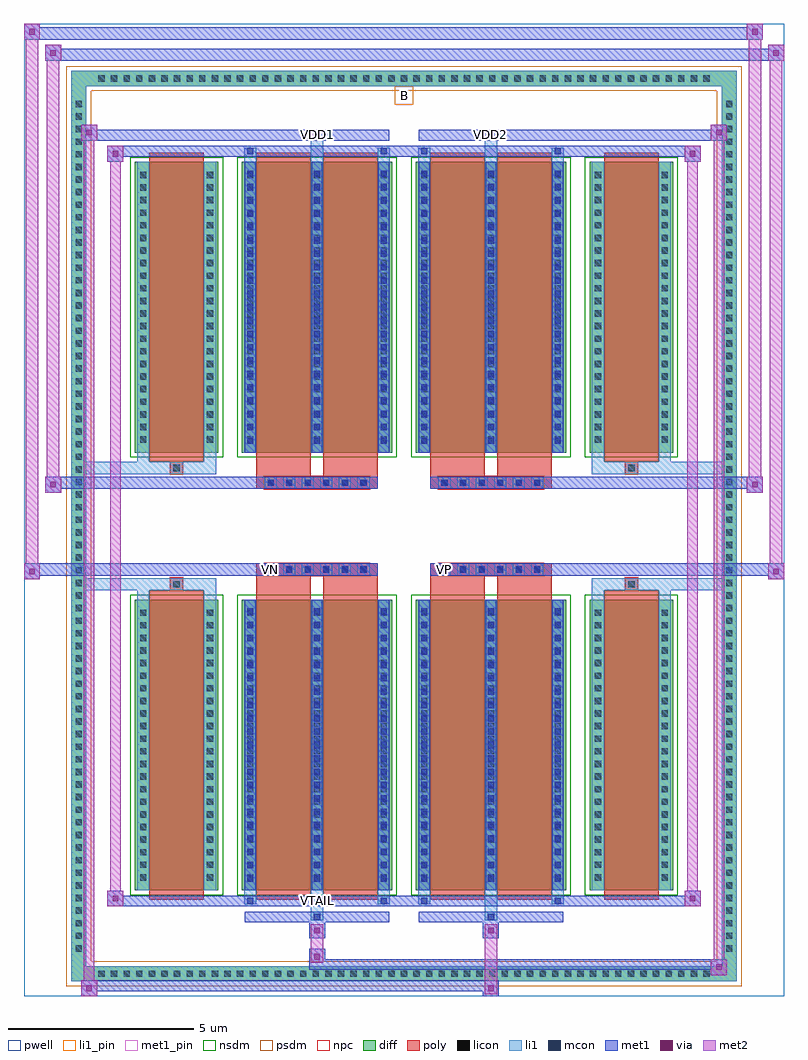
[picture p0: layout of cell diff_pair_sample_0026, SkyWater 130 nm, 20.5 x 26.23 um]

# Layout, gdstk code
import gdstk
lib = gdstk.Library(unit=1e-6, precision=5e-09)
def R(c, l, rs):  # rectangles x0, y0, x1, y1
    for r in rs: c.add(gdstk.rectangle(r[:2], r[2:], *l))
def A(c, l, x, y, w, h, nx, ny, dx, dy):  # array of equal rectangles
    R(c, l, [(x+i*dx, y+j*dy, x+i*dx+w, y+j*dy+h) for i in range(nx) for j in range(ny)])
def P(c, l, *ps):  # polygons
    for p in ps: c.add(gdstk.Polygon(p, *l))
pwell = (64, 44)
diff = (65, 20)
poly = (66, 20)
licon = (66, 44)
li1_pin = (67, 16)
li1 = (67, 20)
mcon = (67, 44)
met1_pin = (68, 16)
met1 = (68, 20)
via = (68, 44)
met2 = (69, 20)
nsdm = (93, 44)
psdm = (94, 20)
npc = (95, 20)

diff_pair_sample_0026 = lib.new_cell('diff_pair_sample_0026')
R(diff_pair_sample_0026, pwell, [(-10.25,-12.68,10.25,13.55), (-7.57,-10.87,-0.01,-0.805), (0.01,-10.87,7.57,-0.805), (-7.57,0.805,-0.01,10.87), (0.01,0.805,7.57,10.87)])
A(diff_pair_sample_0026, diff, -8.365, -12.28, 0.41, 0.41, 49, 2, 0.34, 24.15)
A(diff_pair_sample_0026, diff, -8.98, -11.595, 0.41, 0.41, 1, 68, 0, 0.34)
A(diff_pair_sample_0026, diff, 8.57, -11.595, 0.41, 0.41, 1, 68, 0, 0.34)
R(diff_pair_sample_0026, diff, [(-8.365,-12.28,8.365,-11.87), (-8.98,-11.595,-8.57,11.595), (8.57,-11.595,8.98,11.595), (-7.26,-9.825,-5.01,-1.985), (-4.37,-9.825,-0.32,-1.985), (0.32,-9.825,4.37,-1.985), (5.01,-9.825,7.26,-1.985), (-7.26,1.985,-5.01,9.825), (-4.37,1.985,-0.32,9.825), (0.32,1.985,4.37,9.825), (5.01,1.985,7.26,9.825), (-8.365,11.87,8.365,12.28)])
P(diff_pair_sample_0026, diff, [(8.98,12.28),(-8.98,12.28),(-8.98,-11.87),(-8.57,-11.87),(-8.57,11.87),(8.57,11.87),(8.57,-11.87),(-8.57,-11.87),(-8.98,-11.87),(-8.98,-12.28),(8.98,-12.28)])
A(diff_pair_sample_0026, poly, -3.76, -1.335, 0.33, 0.33, 6, 2, 0.5, 2.34)
A(diff_pair_sample_0026, poly, 0.93, -1.335, 0.33, 0.33, 6, 2, 0.5, 2.34)
R(diff_pair_sample_0026, poly, [(-6.87,-10.075,-5.4,-1.735), (-3.98,-10.075,-2.51,-1.735), (-2.18,-10.075,-0.71,-1.735), (0.71,-10.075,2.18,-1.735), (2.51,-10.075,3.98,-1.735), (5.4,-10.075,6.87,-1.735), (-6.3,-1.735,-5.97,-1.405), (-6.3,-1.735,-5.97,-1.405), (-3.98,-1.735,-2.51,-1.335), (-2.18,-1.735,-0.71,-1.335), (0.71,-1.735,2.18,-1.335), (2.51,-1.735,3.98,-1.335), (5.97,-1.735,6.3,-1.405), (5.97,-1.735,6.3,-1.405), (-3.98,-1.335,-0.71,-1.005), (0.71,-1.335,3.98,-1.005), (-3.98,1.005,-0.71,1.335), (0.71,1.005,3.98,1.335), (-3.98,1.335,-2.51,1.735), (-2.18,1.335,-0.71,1.735), (0.71,1.335,2.18,1.735), (2.51,1.335,3.98,1.735), (-6.3,1.405,-5.97,1.735), (-6.3,1.405,-5.97,1.735), (5.97,1.405,6.3,1.735), (5.97,1.405,6.3,1.735), (-6.87,1.735,-5.4,10.075), (-3.98,1.735,-2.51,10.075), (-2.18,1.735,-0.71,10.075), (0.71,1.735,2.18,10.075), (2.51,1.735,3.98,10.075), (5.4,1.735,6.87,10.075)])
A(diff_pair_sample_0026, licon, -8.245, -12.16, 0.17, 0.17, 49, 2, 0.34, 24.15)
A(diff_pair_sample_0026, licon, -8.86, -11.475, 0.17, 0.17, 1, 68, 0, 0.34)
A(diff_pair_sample_0026, licon, 8.69, -11.475, 0.17, 0.17, 1, 68, 0, 0.34)
A(diff_pair_sample_0026, licon, -7.12, -9.56, 0.17, 0.17, 1, 22, 0, 0.34)
A(diff_pair_sample_0026, licon, -5.32, -9.56, 0.17, 0.17, 1, 22, 0, 0.34)
A(diff_pair_sample_0026, licon, -4.23, -9.56, 0.17, 0.17, 3, 22, 1.8, 0.34)
A(diff_pair_sample_0026, licon, 0.46, -9.56, 0.17, 0.17, 3, 22, 1.8, 0.34)
A(diff_pair_sample_0026, licon, 5.15, -9.56, 0.17, 0.17, 1, 22, 0, 0.34)
A(diff_pair_sample_0026, licon, 6.95, -9.56, 0.17, 0.17, 1, 22, 0, 0.34)
A(diff_pair_sample_0026, licon, -3.68, -1.255, 0.17, 0.17, 6, 2, 0.5, 2.34)
A(diff_pair_sample_0026, licon, 1.01, -1.255, 0.17, 0.17, 6, 2, 0.5, 2.34)
A(diff_pair_sample_0026, licon, -7.12, 2.25, 0.17, 0.17, 1, 22, 0, 0.34)
A(diff_pair_sample_0026, licon, -5.32, 2.25, 0.17, 0.17, 1, 22, 0, 0.34)
A(diff_pair_sample_0026, licon, -4.23, 2.25, 0.17, 0.17, 3, 22, 1.8, 0.34)
A(diff_pair_sample_0026, licon, 0.46, 2.25, 0.17, 0.17, 3, 22, 1.8, 0.34)
A(diff_pair_sample_0026, licon, 5.15, 2.25, 0.17, 0.17, 1, 22, 0, 0.34)
A(diff_pair_sample_0026, licon, 6.95, 2.25, 0.17, 0.17, 1, 22, 0, 0.34)
R(diff_pair_sample_0026, licon, [(-6.22,-1.655,-6.05,-1.485), (6.05,-1.655,6.22,-1.485), (-6.22,1.485,-6.05,1.655), (6.05,1.485,6.22,1.655)])
R(diff_pair_sample_0026, li1_pin, [(-0.25,11.37,0.25,11.87)])
A(diff_pair_sample_0026, li1, -8.325, -12.24, 0.33, 0.33, 49, 2, 0.34, 24.15)
A(diff_pair_sample_0026, li1, -8.94, -11.555, 0.33, 0.33, 1, 68, 0, 0.34)
A(diff_pair_sample_0026, li1, 8.61, -11.555, 0.33, 0.33, 1, 68, 0, 0.34)
A(diff_pair_sample_0026, li1, -4.31, -9.825, 0.33, 7.84, 3, 2, 1.8, 11.81)
A(diff_pair_sample_0026, li1, 0.38, -9.825, 0.33, 7.84, 3, 2, 1.8, 11.81)
A(diff_pair_sample_0026, li1, -7.2, -9.64, 0.33, 0.33, 1, 22, 0, 0.34)
A(diff_pair_sample_0026, li1, -5.4, -9.64, 0.33, 0.33, 1, 22, 0, 0.34)
A(diff_pair_sample_0026, li1, -4.31, -9.64, 0.33, 0.33, 3, 22, 1.8, 0.34)
A(diff_pair_sample_0026, li1, 0.38, -9.64, 0.33, 0.33, 3, 22, 1.8, 0.34)
A(diff_pair_sample_0026, li1, 5.07, -9.64, 0.33, 0.33, 1, 22, 0, 0.34)
A(diff_pair_sample_0026, li1, 6.87, -9.64, 0.33, 0.33, 1, 22, 0, 0.34)
A(diff_pair_sample_0026, li1, -4.23, -9.59, 0.17, 0.17, 3, 21, 1.8, 0.36)
A(diff_pair_sample_0026, li1, -4.23, -9.59, 0.17, 7.37, 3, 2, 1.8, 11.81)
A(diff_pair_sample_0026, li1, 0.46, -9.59, 0.17, 0.17, 3, 21, 1.8, 0.36)
A(diff_pair_sample_0026, li1, 0.46, -9.59, 0.17, 7.37, 3, 2, 1.8, 11.81)
A(diff_pair_sample_0026, li1, -3.76, -1.335, 0.33, 0.33, 6, 2, 0.5, 2.34)
A(diff_pair_sample_0026, li1, 0.93, -1.335, 0.33, 0.33, 6, 2, 0.5, 2.34)
A(diff_pair_sample_0026, li1, -7.2, 2.17, 0.33, 0.33, 1, 22, 0, 0.34)
A(diff_pair_sample_0026, li1, -5.4, 2.17, 0.33, 0.33, 1, 22, 0, 0.34)
A(diff_pair_sample_0026, li1, -4.31, 2.17, 0.33, 0.33, 3, 22, 1.8, 0.34)
A(diff_pair_sample_0026, li1, 0.38, 2.17, 0.33, 0.33, 3, 22, 1.8, 0.34)
A(diff_pair_sample_0026, li1, 5.07, 2.17, 0.33, 0.33, 1, 22, 0, 0.34)
A(diff_pair_sample_0026, li1, 6.87, 2.17, 0.33, 0.33, 1, 22, 0, 0.34)
A(diff_pair_sample_0026, li1, -4.23, 2.22, 0.17, 0.17, 3, 21, 1.8, 0.36)
A(diff_pair_sample_0026, li1, 0.46, 2.22, 0.17, 0.17, 3, 21, 1.8, 0.36)
R(diff_pair_sample_0026, li1, [(-8.98,-12.28,-8.57,-11.87), (-8.98,-12.28,-8.57,-11.87), (-8.57,-12.28,8.57,-11.87), (8.57,-12.28,8.98,-11.87), (8.57,-12.28,8.98,-11.87), (-8.98,-11.87,-8.57,11.87), (8.57,-11.87,8.98,11.87), (-2.51,-10.63,-2.18,-9.825), (-2.43,-10.63,-2.26,-10.46), (2.18,-10.63,2.51,-9.825), (2.26,-10.63,2.43,-10.46), (-4.31,-10.2,-3.98,-9.825), (-4.23,-10.2,-4.06,-10.03), (-0.71,-10.2,-0.38,-9.825), (-0.63,-10.2,-0.46,-10.03), (0.38,-10.2,0.71,-9.825), (0.46,-10.2,0.63,-10.03), (3.98,-10.2,4.31,-9.825), (4.06,-10.2,4.23,-10.03), (-7.2,-9.825,-6.87,-1.985), (-5.4,-9.825,-5.07,-1.985), (5.07,-9.825,5.4,-1.985), (6.87,-9.825,7.2,-1.985), (-7.2,-1.985,-6.87,-1.405), (-5.4,-1.985,-5.07,-1.405), (5.07,-1.985,5.4,-1.405), (6.87,-1.985,7.2,-1.405), (-8.98,-1.735,-6.3,-1.405), (-7.2,-1.735,-6.3,-1.405), (-6.3,-1.735,-5.97,-1.405), (-5.97,-1.735,-5.07,-1.405), (5.07,-1.735,5.97,-1.405), (5.97,-1.735,6.3,-1.405), (5.97,-1.735,8.98,-1.405), (6.3,-1.735,7.2,-1.405), (-8.98,1.405,-6.3,1.735), (-7.2,1.405,-6.3,1.735), (-7.2,1.405,-6.87,1.985), (-6.3,1.405,-5.97,1.735), (-5.97,1.405,-5.07,1.735), (-5.4,1.405,-5.07,1.985), (5.07,1.405,5.97,1.735), (5.07,1.405,5.4,1.985), (5.97,1.405,6.3,1.735), (5.97,1.405,8.98,1.735), (6.3,1.405,7.2,1.735), (6.87,1.405,7.2,1.985), (-7.2,1.985,-6.87,9.825), (-5.4,1.985,-5.07,9.825), (5.07,1.985,5.4,9.825), (6.87,1.985,7.2,9.825), (-4.31,9.825,-3.98,10.2), (-2.51,9.825,-2.18,10.63), (-0.71,9.825,-0.38,10.2), (0.38,9.825,0.71,10.2), (2.18,9.825,2.51,10.63), (3.98,9.825,4.31,10.2), (-4.23,10.03,-4.06,10.2), (-0.63,10.03,-0.46,10.2), (0.46,10.03,0.63,10.2), (4.06,10.03,4.23,10.2), (-2.43,10.46,-2.26,10.63), (2.26,10.46,2.43,10.63), (-8.98,11.87,-8.57,12.28), (-8.98,11.87,-8.57,12.28), (-8.57,11.87,8.57,12.28), (8.57,11.87,8.98,12.28), (8.57,11.87,8.98,12.28)])
A(diff_pair_sample_0026, mcon, -4.23, -9.59, 0.17, 0.17, 3, 21, 1.8, 0.36)
A(diff_pair_sample_0026, mcon, 0.46, -9.59, 0.17, 0.17, 3, 21, 1.8, 0.36)
A(diff_pair_sample_0026, mcon, -3.68, -1.255, 0.17, 0.17, 6, 2, 0.5, 2.34)
A(diff_pair_sample_0026, mcon, 1.01, -1.255, 0.17, 0.17, 6, 2, 0.5, 2.34)
A(diff_pair_sample_0026, mcon, -4.23, 2.22, 0.17, 0.17, 3, 21, 1.8, 0.36)
A(diff_pair_sample_0026, mcon, 0.46, 2.22, 0.17, 0.17, 3, 21, 1.8, 0.36)
R(diff_pair_sample_0026, mcon, [(-2.43,-10.63,-2.26,-10.46), (2.26,-10.63,2.43,-10.46), (-4.23,-10.2,-4.06,-10.03), (-0.63,-10.2,-0.46,-10.03), (0.46,-10.2,0.63,-10.03), (4.06,-10.2,4.23,-10.03), (-4.23,10.03,-4.06,10.2), (-0.63,10.03,-0.46,10.2), (0.46,10.03,0.63,10.2), (4.06,10.03,4.23,10.2), (-2.43,10.46,-2.26,10.63), (2.26,10.46,2.43,10.63)])
R(diff_pair_sample_0026, met1_pin, [(-2.48,-10.24,-2.21,-9.97), (-3.73,-1.295,-3.46,-1.025), (0.96,-1.295,1.23,-1.025), (-2.48,10.42,-2.21,10.69), (2.21,10.42,2.48,10.69)])
A(diff_pair_sample_0026, met1, -4.29, -9.825, 0.29, 7.84, 3, 2, 1.8, 11.81)
A(diff_pair_sample_0026, met1, 0.4, -9.825, 0.29, 7.84, 3, 2, 1.8, 11.81)
A(diff_pair_sample_0026, met1, -4.29, -9.65, 0.29, 0.29, 3, 21, 1.8, 0.36)
A(diff_pair_sample_0026, met1, 0.4, -9.65, 0.29, 0.29, 3, 21, 1.8, 0.36)
A(diff_pair_sample_0026, met1, -3.74, -1.315, 0.29, 0.29, 6, 2, 0.5, 2.34)
A(diff_pair_sample_0026, met1, 0.95, -1.315, 0.29, 0.29, 6, 2, 0.5, 2.34)
A(diff_pair_sample_0026, met1, -4.29, 2.16, 0.29, 0.29, 3, 21, 1.8, 0.36)
A(diff_pair_sample_0026, met1, 0.4, 2.16, 0.29, 0.29, 3, 21, 1.8, 0.36)
R(diff_pair_sample_0026, met1, [(-8.71,-12.68,-8.28,-12.25), (2.13,-12.68,2.56,-12.25), (-8.71,-12.54,2.56,-12.25), (8.28,-12.11,8.71,-11.68), (-2.56,-11.97,8.71,-11.68), (-2.56,-11.83,-2.13,-11.4), (-2.56,-11.12,-2.13,-10.69), (2.13,-11.12,2.56,-10.69), (-4.29,-10.69,-0.4,-10.4), (-2.49,-10.69,-2.2,-10.4), (0.4,-10.69,4.29,-10.4), (2.2,-10.69,2.49,-10.4), (-8,-10.26,-7.57,-9.83), (-8,-10.26,-4.29,-9.97), (-4.29,-10.26,-4,-9.97), (-4.29,-10.26,-0.4,-9.97), (-0.69,-10.26,-0.4,-9.97), (-0.4,-10.26,0.4,-9.97), (0.4,-10.26,0.69,-9.97), (0.4,-10.26,4.29,-9.97), (4,-10.26,4.29,-9.97), (4.29,-10.26,8,-9.97), (7.57,-10.26,8,-9.83), (-10.25,-1.435,-9.82,-1.005), (9.82,-1.435,10.25,-1.005), (-10.25,-1.335,-0.71,-1.005), (-3.98,-1.335,-0.71,-1.005), (0.71,-1.335,3.98,-1.005), (0.71,-1.335,10.25,-1.005), (-9.68,0.905,-9.25,1.335), (9.25,0.905,9.68,1.335), (-9.68,1.005,-3.98,1.335), (-3.98,1.005,-0.71,1.335), (0.71,1.005,3.98,1.335), (3.98,1.005,9.68,1.335), (-8,9.83,-7.57,10.26), (7.57,9.83,8,10.26), (-8,9.97,-4.29,10.26), (-4.29,9.97,-4,10.26), (-4.29,9.97,-0.4,10.26), (-0.69,9.97,-0.4,10.26), (-0.4,9.97,0.4,10.26), (0.4,9.97,0.69,10.26), (0.4,9.97,4.29,10.26), (4,9.97,4.29,10.26), (4.29,9.97,8,10.26), (-8.71,10.4,-8.28,10.83), (-8.71,10.4,-4.29,10.69), (-4.29,10.4,-0.4,10.69), (-2.49,10.4,-2.2,10.69), (0.4,10.4,4.29,10.69), (2.2,10.4,2.49,10.69), (4.29,10.4,8.71,10.69), (8.28,10.4,8.71,10.83), (-9.68,12.55,-9.25,12.98), (-9.68,12.55,-7.57,12.88), (-7.57,12.55,7.57,12.88), (7.57,12.55,10.25,12.88), (9.82,12.55,10.25,12.98), (-10.25,13.12,-9.82,13.55), (-10.25,13.12,-7.57,13.45), (-7.57,13.12,7.57,13.45), (7.57,13.12,9.68,13.45), (9.25,13.12,9.68,13.55)])
R(diff_pair_sample_0026, via, [(-8.57,-12.54,-8.42,-12.39), (2.27,-12.54,2.42,-12.39), (8.42,-11.97,8.57,-11.82), (-2.42,-11.69,-2.27,-11.54), (-2.42,-10.98,-2.27,-10.83), (2.27,-10.98,2.42,-10.83), (-7.86,-10.12,-7.71,-9.97), (7.71,-10.12,7.86,-9.97), (-10.11,-1.295,-9.96,-1.145), (9.96,-1.295,10.11,-1.145), (-9.54,1.045,-9.39,1.195), (9.39,1.045,9.54,1.195), (-7.86,9.97,-7.71,10.12), (7.71,9.97,7.86,10.12), (-8.57,10.54,-8.42,10.69), (8.42,10.54,8.57,10.69), (-9.54,12.69,-9.39,12.84), (9.96,12.69,10.11,12.84), (-10.11,13.26,-9.96,13.41), (9.39,13.26,9.54,13.41)])
R(diff_pair_sample_0026, met2, [(-8.71,-12.68,-8.28,-12.25), (-8.64,-12.68,-8.35,10.83), (-8.35,-12.68,-8.28,-12.25), (-8.66,-12.63,-8.33,-12.3), (2.18,-12.63,2.51,-12.3), (2.18,-12.3,2.51,-11.07), (8.28,-12.11,8.71,-11.68), (8.35,-12.11,8.64,10.83), (8.64,-12.11,8.71,-11.68), (8.33,-12.06,8.66,-11.73), (-2.51,-11.78,-2.18,-11.45), (-2.51,-11.45,-2.18,-11.07), (-2.51,-11.07,-2.18,-10.74), (2.18,-11.07,2.51,-10.74), (-8,-10.26,-7.57,-9.83), (-7.93,-10.26,-7.64,10.26), (-7.64,-10.26,-7.57,-9.83), (7.57,-10.26,8,-9.83), (7.64,-10.26,7.93,10.26), (7.93,-10.26,8,-9.83), (-7.95,-10.21,-7.62,-9.88), (7.62,-10.21,7.95,-9.88), (-10.25,-1.435,-9.82,-1.005), (-10.2,-1.435,-9.87,13.55), (-9.87,-1.435,-9.82,-1.005), (9.82,-1.435,10.25,-1.005), (9.87,-1.435,10.2,12.98), (10.2,-1.435,10.25,-1.005), (-10.2,-1.385,-9.87,-1.055), (9.87,-1.385,10.2,-1.055), (-9.68,0.905,-9.25,1.335), (-9.63,0.905,-9.3,12.98), (-9.3,0.905,-9.25,1.335), (9.25,0.905,9.68,1.335), (9.3,0.905,9.63,13.55), (9.63,0.905,9.68,1.335), (-9.63,0.955,-9.3,1.285), (9.3,0.955,9.63,1.285), (-8,9.83,-7.57,10.26), (-7.64,9.83,-7.57,10.26), (7.57,9.83,8,10.26), (7.93,9.83,8,10.26), (-7.95,9.88,-7.62,10.21), (7.62,9.88,7.95,10.21), (-8.71,10.4,-8.28,10.83), (-8.35,10.4,-8.28,10.83), (8.28,10.4,8.71,10.83), (8.64,10.4,8.71,10.83), (-8.66,10.45,-8.33,10.78), (8.33,10.45,8.66,10.78), (-9.68,12.55,-9.25,12.98), (-9.3,12.55,-9.25,12.98), (9.82,12.55,10.25,12.98), (10.2,12.55,10.25,12.98), (-9.63,12.6,-9.3,12.93), (9.87,12.6,10.2,12.93), (-10.25,13.12,-9.82,13.55), (-9.87,13.12,-9.82,13.55), (9.25,13.12,9.68,13.55), (9.63,13.12,9.68,13.55), (-10.2,13.17,-9.87,13.5), (9.3,13.17,9.63,13.5)])
R(diff_pair_sample_0026, nsdm, [(-7.39,-9.955,-4.88,-1.855), (-4.5,-9.955,-0.19,-1.855), (0.19,-9.955,4.5,-1.855), (4.88,-9.955,7.39,-1.855), (-7.39,1.855,-4.88,9.955), (-4.5,1.855,-0.19,9.955), (0.19,1.855,4.5,9.955), (4.88,1.855,7.39,9.955)])
P(diff_pair_sample_0026, psdm, [(9.11,12.41),(-9.11,12.41),(-9.11,-11.74),(-8.44,-11.74),(-8.44,11.74),(8.44,11.74),(8.44,-11.74),(-8.44,-11.74),(-9.11,-11.74),(-9.11,-12.41),(9.11,-12.41)])
A(diff_pair_sample_0026, npc, -3.78, -1.355, 0.37, 0.37, 6, 2, 0.5, 2.34)
A(diff_pair_sample_0026, npc, 0.91, -1.355, 0.37, 0.37, 6, 2, 0.5, 2.34)
R(diff_pair_sample_0026, npc, [(-6.32,-1.755,-5.95,-1.385), (5.95,-1.755,6.32,-1.385), (-3.78,-1.355,-2.91,-0.985), (-3.78,-1.355,-2.91,-0.985), (-3.28,-1.355,-2.41,-0.985), (-3.28,-1.355,-2.41,-0.985), (-2.78,-1.355,-1.91,-0.985), (-2.78,-1.355,-1.91,-0.985), (-2.28,-1.355,-1.41,-0.985), (-2.28,-1.355,-1.41,-0.985), (-1.78,-1.355,-0.91,-0.985), (-1.78,-1.355,-0.91,-0.985), (0.91,-1.355,1.78,-0.985), (0.91,-1.355,1.78,-0.985), (1.41,-1.355,2.28,-0.985), (1.41,-1.355,2.28,-0.985), (1.91,-1.355,2.78,-0.985), (1.91,-1.355,2.78,-0.985), (2.41,-1.355,3.28,-0.985), (2.41,-1.355,3.28,-0.985), (2.91,-1.355,3.78,-0.985), (2.91,-1.355,3.78,-0.985), (-3.78,0.985,-2.91,1.355), (-3.78,0.985,-2.91,1.355), (-3.28,0.985,-2.41,1.355), (-3.28,0.985,-2.41,1.355), (-2.78,0.985,-1.91,1.355), (-2.78,0.985,-1.91,1.355), (-2.28,0.985,-1.41,1.355), (-2.28,0.985,-1.41,1.355), (-1.78,0.985,-0.91,1.355), (-1.78,0.985,-0.91,1.355), (0.91,0.985,1.78,1.355), (0.91,0.985,1.78,1.355), (1.41,0.985,2.28,1.355), (1.41,0.985,2.28,1.355), (1.91,0.985,2.78,1.355), (1.91,0.985,2.78,1.355), (2.41,0.985,3.28,1.355), (2.41,0.985,3.28,1.355), (2.91,0.985,3.78,1.355), (2.91,0.985,3.78,1.355), (-6.32,1.385,-5.95,1.755), (5.95,1.385,6.32,1.755)])
diff_pair_sample_0026.add(gdstk.Label('VTAIL', (-2.345,-10.105), layer=68, texttype=5))
diff_pair_sample_0026.add(gdstk.Label('VN', (-3.595,-1.16), layer=68, texttype=5))
diff_pair_sample_0026.add(gdstk.Label('VP', (1.095,-1.16), layer=68, texttype=5))
diff_pair_sample_0026.add(gdstk.Label('B', (0,11.62), layer=67, texttype=5))
diff_pair_sample_0026.add(gdstk.Label('VDD2', (2.345,10.555), layer=68, texttype=5))
diff_pair_sample_0026.add(gdstk.Label('VDD1', (-2.345,10.555), layer=68, texttype=5))

lib.write_gds('diff_pair_sample_0026.gds')
